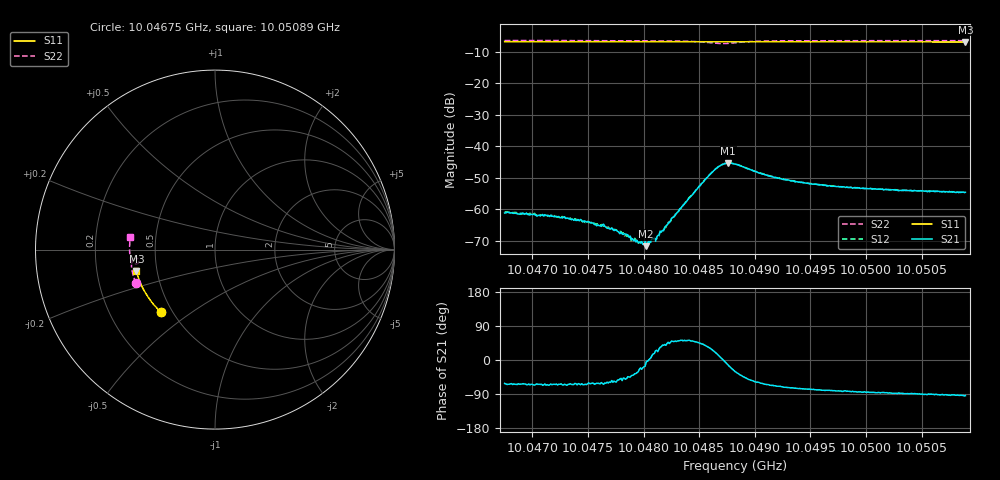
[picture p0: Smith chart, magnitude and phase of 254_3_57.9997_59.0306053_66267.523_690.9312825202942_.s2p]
#  HZ  S  RI  R  50.00
! Rohde & Schwarz Vector Network Analyzer
! Rohde-Schwarz,ZNB20-2Port,1311601062101988,3.16
! Created: UTC 3/21/2024, 1:01:42 AM
! freq[Hz]  re:S11  im:S11  re:S21  im:S21  re:S12  im:S12  re:S22  im:S22
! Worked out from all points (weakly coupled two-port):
!   401 points, 10.04675 GHz to 10.05089 GHz, reference 50 ohm
!   highest |S21| = -45.37 dB at 10.04876 GHz (marker M1); lowest = -71.8 dB at 10.04803 GHz (marker M2)
!   lowest |S11| = -6.9 dB at 10.05089 GHz (marker M3), VSWR 2.66, Z = 19.1 - j5.75 ohm
!   |S11| at or under -10 dB: nowhere
!   |S22| runs from -7.4 to -6.4 dB; largest |S21 - S12| = 0.00039
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1.0046751e10  -0.2993 -0.3504  0.000408 -0.000766  0.000456 -0.000772  -0.4415 -0.1873
1.0047197e10  -0.3205 -0.3298  0.000335 -0.00068  0.000372 -0.0007  -0.4517 -0.1586
1.0047445e10  -0.3318 -0.3177  0.000303 -0.000586  0.000318 -0.000558  -0.4565 -0.142
1.00476e10  -0.3385 -0.3101  0.000258 -0.000483  0.0003 -0.000507  -0.4591 -0.1314
1.0047642e10  -0.3403 -0.308  0.000251 -0.000516  0.000313 -0.000438  -0.4599 -0.1282
1.0047777e10  -0.346 -0.301  0.000263 -0.000346  0.000275 -0.000351  -0.4618 -0.1186
1.0047859e10  -0.3493 -0.2967  0.000282 -0.000271  0.000292 -0.000237  -0.4628 -0.1124
1.004789e10  -0.3507 -0.2951  0.000251 -0.000221  0.000229 -0.000202  -0.4632 -0.1102
1.0047953e10  -0.3533 -0.2918  0.000252 -0.000151  0.000261 -0.000126  -0.4637 -0.1056
1.0048025e10  -0.3561 -0.2881  0.000258 -1.76e-05  0.000274 -1.4e-05  -0.4643 -0.0998
1.0048046e10  -0.357 -0.287  0.000308 -1.67e-09  0.000273 4.94e-05  -0.4646 -0.0981
1.0048118e10  -0.3599 -0.2833  0.000324 0.000154  0.000306 0.000139  -0.465 -0.0919
1.0048139e10  -0.3606 -0.2821  0.000335 0.000188  0.000311 0.000212  -0.4648 -0.0903
1.0048398e10  -0.3705 -0.268  0.000875 0.0011  0.000801 0.00116  -0.461 -0.0655
1.0048595e10  -0.3775 -0.2572  0.003 0.00186  0.00288 0.00203  -0.441 -0.0488
1.0048688e10  -0.3805 -0.2521  0.00485 0.000733  0.00481 0.00101  -0.4254 -0.0563
1.004876e10  -0.383 -0.2482  0.00524 -0.00124  0.00535 -0.000945  -0.4249 -0.0711
1.0048823e10  -0.3851 -0.2448  0.00449 -0.00264  0.00471 -0.00232  -0.434 -0.0792
1.0049144e10  -0.396 -0.2266  0.00131 -0.00304  0.0015 -0.003  -0.4673 -0.0582
1.0049516e10  -0.4069 -0.2046  0.000527 -0.00244  0.000732 -0.00245  -0.4745 -0.0268
1.005021e10  -0.4245 -0.1625  0.000124 -0.00201  0.000241 -0.00204  -0.4757 0.0232
1.0050894e10  -0.4374 -0.1197  -0.000129 -0.00185  -1.36e-05 -0.00187  -0.4709 0.0694
